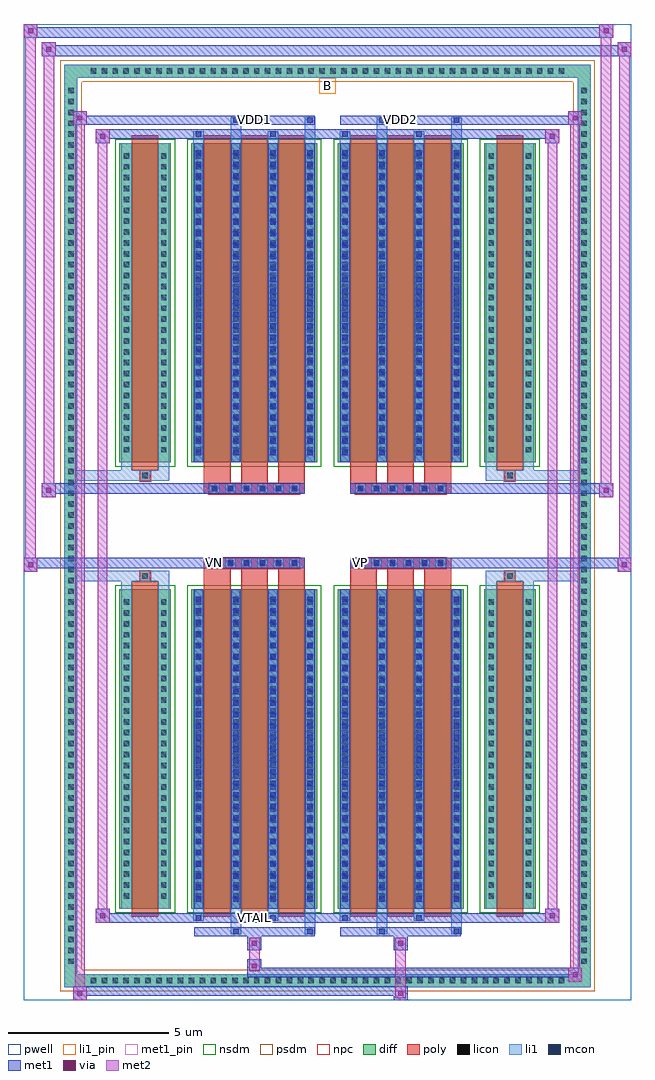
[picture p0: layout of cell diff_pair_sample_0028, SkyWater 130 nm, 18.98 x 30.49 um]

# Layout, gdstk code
import gdstk
lib = gdstk.Library(unit=1e-6, precision=5e-09)
def R(c, l, rs):  # rectangles x0, y0, x1, y1
    for r in rs: c.add(gdstk.rectangle(r[:2], r[2:], *l))
def A(c, l, x, y, w, h, nx, ny, dx, dy):  # array of equal rectangles
    R(c, l, [(x+i*dx, y+j*dy, x+i*dx+w, y+j*dy+h) for i in range(nx) for j in range(ny)])
def P(c, l, *ps):  # polygons
    for p in ps: c.add(gdstk.Polygon(p, *l))
pwell = (64, 44)
diff = (65, 20)
poly = (66, 20)
licon = (66, 44)
li1_pin = (67, 16)
li1 = (67, 20)
mcon = (67, 44)
met1_pin = (68, 16)
met1 = (68, 20)
via = (68, 44)
met2 = (69, 20)
nsdm = (93, 44)
psdm = (94, 20)
npc = (95, 20)

diff_pair_sample_0028 = lib.new_cell('diff_pair_sample_0028')
R(diff_pair_sample_0028, pwell, [(-9.49,-14.81,9.49,15.68), (-6.81,-13,-0.01,-0.8), (0.01,-13,6.81,-0.8), (-6.81,0.8,-0.01,13), (0.01,0.8,6.81,13)])
A(diff_pair_sample_0028, diff, -7.515, -14.41, 0.41, 0.41, 44, 2, 0.34, 28.41)
A(diff_pair_sample_0028, diff, -8.22, -13.805, 0.41, 0.41, 1, 81, 0, 0.34)
A(diff_pair_sample_0028, diff, 7.81, -13.805, 0.41, 0.41, 1, 81, 0, 0.34)
R(diff_pair_sample_0028, diff, [(-7.515,-14.41,7.515,-14), (-8.22,-13.805,-7.81,13.805), (7.81,-13.805,8.22,13.805), (-6.5,-11.955,-4.89,-1.985), (-4.25,-11.955,-0.32,-1.985), (0.32,-11.955,4.25,-1.985), (4.89,-11.955,6.5,-1.985), (-6.5,1.985,-4.89,11.955), (-4.25,1.985,-0.32,11.955), (0.32,1.985,4.25,11.955), (4.89,1.985,6.5,11.955), (-7.515,14,7.515,14.41)])
P(diff_pair_sample_0028, diff, [(8.22,14.41),(-8.22,14.41),(-8.22,-14),(-7.81,-14),(-7.81,14),(7.81,14),(7.81,-14),(-7.81,-14),(-8.22,-14),(-8.22,-14.41),(8.22,-14.41)])
A(diff_pair_sample_0028, poly, -3.86, -12.205, 0.83, 10.47, 3, 2, 1.16, 13.94)
A(diff_pair_sample_0028, poly, 0.71, -12.205, 0.83, 10.47, 3, 2, 1.16, 13.94)
A(diff_pair_sample_0028, poly, -3.86, -1.735, 0.83, 0.405, 3, 2, 1.16, 3.065)
A(diff_pair_sample_0028, poly, 0.71, -1.735, 0.83, 0.405, 3, 2, 1.16, 3.065)
A(diff_pair_sample_0028, poly, -3.7, -1.33, 0.33, 0.33, 6, 2, 0.5, 2.33)
A(diff_pair_sample_0028, poly, 0.87, -1.33, 0.33, 0.33, 6, 2, 0.5, 2.33)
R(diff_pair_sample_0028, poly, [(-6.11,-12.205,-5.28,-1.735), (5.28,-12.205,6.11,-1.735), (-5.86,-1.735,-5.53,-1.405), (-5.86,-1.735,-5.53,-1.405), (5.53,-1.735,5.86,-1.405), (5.53,-1.735,5.86,-1.405), (-3.86,-1.33,-0.71,-1), (0.71,-1.33,3.86,-1), (-3.86,1,-0.71,1.33), (0.71,1,3.86,1.33), (-5.86,1.405,-5.53,1.735), (-5.86,1.405,-5.53,1.735), (5.53,1.405,5.86,1.735), (5.53,1.405,5.86,1.735), (-6.11,1.735,-5.28,12.205), (5.28,1.735,6.11,12.205)])
A(diff_pair_sample_0028, licon, -7.395, -14.29, 0.17, 0.17, 44, 2, 0.34, 28.41)
A(diff_pair_sample_0028, licon, -8.1, -13.685, 0.17, 0.17, 1, 81, 0, 0.34)
A(diff_pair_sample_0028, licon, 7.93, -13.685, 0.17, 0.17, 1, 81, 0, 0.34)
A(diff_pair_sample_0028, licon, -6.36, -11.645, 0.17, 0.17, 1, 28, 0, 0.34)
A(diff_pair_sample_0028, licon, -5.2, -11.645, 0.17, 0.17, 1, 28, 0, 0.34)
A(diff_pair_sample_0028, licon, -4.11, -11.645, 0.17, 0.17, 4, 28, 1.16, 0.34)
A(diff_pair_sample_0028, licon, 0.46, -11.645, 0.17, 0.17, 4, 28, 1.16, 0.34)
A(diff_pair_sample_0028, licon, 5.03, -11.645, 0.17, 0.17, 1, 28, 0, 0.34)
A(diff_pair_sample_0028, licon, 6.19, -11.645, 0.17, 0.17, 1, 28, 0, 0.34)
A(diff_pair_sample_0028, licon, -3.62, -1.25, 0.17, 0.17, 6, 2, 0.5, 2.33)
A(diff_pair_sample_0028, licon, 0.95, -1.25, 0.17, 0.17, 6, 2, 0.5, 2.33)
A(diff_pair_sample_0028, licon, -6.36, 2.295, 0.17, 0.17, 1, 28, 0, 0.34)
A(diff_pair_sample_0028, licon, -5.2, 2.295, 0.17, 0.17, 1, 28, 0, 0.34)
A(diff_pair_sample_0028, licon, -4.11, 2.295, 0.17, 0.17, 4, 28, 1.16, 0.34)
A(diff_pair_sample_0028, licon, 0.46, 2.295, 0.17, 0.17, 4, 28, 1.16, 0.34)
A(diff_pair_sample_0028, licon, 5.03, 2.295, 0.17, 0.17, 1, 28, 0, 0.34)
A(diff_pair_sample_0028, licon, 6.19, 2.295, 0.17, 0.17, 1, 28, 0, 0.34)
R(diff_pair_sample_0028, licon, [(-5.78,-1.655,-5.61,-1.485), (5.61,-1.655,5.78,-1.485), (-5.78,1.485,-5.61,1.655), (5.61,1.485,5.78,1.655)])
R(diff_pair_sample_0028, li1_pin, [(-0.25,13.5,0.25,14)])
A(diff_pair_sample_0028, li1, -7.475, -14.37, 0.33, 0.33, 44, 2, 0.34, 28.41)
A(diff_pair_sample_0028, li1, -8.18, -13.765, 0.33, 0.33, 1, 81, 0, 0.34)
A(diff_pair_sample_0028, li1, 7.85, -13.765, 0.33, 0.33, 1, 81, 0, 0.34)
A(diff_pair_sample_0028, li1, -4.19, -11.955, 0.33, 9.97, 4, 2, 1.16, 13.94)
A(diff_pair_sample_0028, li1, 0.38, -11.955, 0.33, 9.97, 4, 2, 1.16, 13.94)
A(diff_pair_sample_0028, li1, -4.11, -11.735, 0.17, 0.17, 4, 27, 1.16, 0.36)
A(diff_pair_sample_0028, li1, -4.11, -11.735, 0.17, 9.53, 4, 2, 1.16, 13.94)
A(diff_pair_sample_0028, li1, 0.46, -11.735, 0.17, 0.17, 4, 27, 1.16, 0.36)
A(diff_pair_sample_0028, li1, 0.46, -11.735, 0.17, 9.53, 4, 2, 1.16, 13.94)
A(diff_pair_sample_0028, li1, -6.44, -11.725, 0.33, 0.33, 1, 28, 0, 0.34)
A(diff_pair_sample_0028, li1, -5.28, -11.725, 0.33, 0.33, 1, 28, 0, 0.34)
A(diff_pair_sample_0028, li1, -4.19, -11.725, 0.33, 0.33, 4, 28, 1.16, 0.34)
A(diff_pair_sample_0028, li1, 0.38, -11.725, 0.33, 0.33, 4, 28, 1.16, 0.34)
A(diff_pair_sample_0028, li1, 4.95, -11.725, 0.33, 0.33, 1, 28, 0, 0.34)
A(diff_pair_sample_0028, li1, 6.11, -11.725, 0.33, 0.33, 1, 28, 0, 0.34)
A(diff_pair_sample_0028, li1, -3.7, -1.33, 0.33, 0.33, 6, 2, 0.5, 2.33)
A(diff_pair_sample_0028, li1, 0.87, -1.33, 0.33, 0.33, 6, 2, 0.5, 2.33)
A(diff_pair_sample_0028, li1, -4.11, 2.205, 0.17, 0.17, 4, 27, 1.16, 0.36)
A(diff_pair_sample_0028, li1, 0.46, 2.205, 0.17, 0.17, 4, 27, 1.16, 0.36)
A(diff_pair_sample_0028, li1, -6.44, 2.215, 0.33, 0.33, 1, 28, 0, 0.34)
A(diff_pair_sample_0028, li1, -5.28, 2.215, 0.33, 0.33, 1, 28, 0, 0.34)
A(diff_pair_sample_0028, li1, -4.19, 2.215, 0.33, 0.33, 4, 28, 1.16, 0.34)
A(diff_pair_sample_0028, li1, 0.38, 2.215, 0.33, 0.33, 4, 28, 1.16, 0.34)
A(diff_pair_sample_0028, li1, 4.95, 2.215, 0.33, 0.33, 1, 28, 0, 0.34)
A(diff_pair_sample_0028, li1, 6.11, 2.215, 0.33, 0.33, 1, 28, 0, 0.34)
R(diff_pair_sample_0028, li1, [(-8.22,-14.41,-7.81,-14), (-8.22,-14.41,-7.81,-14), (-7.81,-14.41,7.81,-14), (7.81,-14.41,8.22,-14), (7.81,-14.41,8.22,-14), (-8.22,-14,-7.81,14), (7.81,-14,8.22,14), (-3.03,-12.76,-2.7,-11.955), (-2.95,-12.76,-2.78,-12.59), (-0.71,-12.76,-0.38,-11.955), (-0.63,-12.76,-0.46,-12.59), (1.54,-12.76,1.87,-11.955), (1.62,-12.76,1.79,-12.59), (3.86,-12.76,4.19,-11.955), (3.94,-12.76,4.11,-12.59), (-4.19,-12.33,-3.86,-11.955), (-4.11,-12.33,-3.94,-12.16), (-1.87,-12.33,-1.54,-11.955), (-1.79,-12.33,-1.62,-12.16), (0.38,-12.33,0.71,-11.955), (0.46,-12.33,0.63,-12.16), (2.7,-12.33,3.03,-11.955), (2.78,-12.33,2.95,-12.16), (-6.44,-11.955,-6.11,-1.985), (-5.28,-11.955,-4.95,-1.985), (4.95,-11.955,5.28,-1.985), (6.11,-11.955,6.44,-1.985), (-6.44,-1.985,-6.11,-1.405), (-5.28,-1.985,-4.95,-1.405), (4.95,-1.985,5.28,-1.405), (6.11,-1.985,6.44,-1.405), (-8.22,-1.735,-5.86,-1.405), (-6.44,-1.735,-5.86,-1.405), (-5.86,-1.735,-5.53,-1.405), (-5.53,-1.735,-4.95,-1.405), (4.95,-1.735,5.53,-1.405), (5.53,-1.735,5.86,-1.405), (5.53,-1.735,8.22,-1.405), (5.86,-1.735,6.44,-1.405), (-8.22,1.405,-5.86,1.735), (-6.44,1.405,-5.86,1.735), (-6.44,1.405,-6.11,1.985), (-5.86,1.405,-5.53,1.735), (-5.53,1.405,-4.95,1.735), (-5.28,1.405,-4.95,1.985), (4.95,1.405,5.53,1.735), (4.95,1.405,5.28,1.985), (5.53,1.405,5.86,1.735), (5.53,1.405,8.22,1.735), (5.86,1.405,6.44,1.735), (6.11,1.405,6.44,1.985), (-6.44,1.985,-6.11,11.955), (-5.28,1.985,-4.95,11.955), (4.95,1.985,5.28,11.955), (6.11,1.985,6.44,11.955), (-4.19,11.955,-3.86,12.33), (-3.03,11.955,-2.7,12.76), (-1.87,11.955,-1.54,12.33), (-0.71,11.955,-0.38,12.76), (0.38,11.955,0.71,12.33), (1.54,11.955,1.87,12.76), (2.7,11.955,3.03,12.33), (3.86,11.955,4.19,12.76), (-4.11,12.16,-3.94,12.33), (-1.79,12.16,-1.62,12.33), (0.46,12.16,0.63,12.33), (2.78,12.16,2.95,12.33), (-2.95,12.59,-2.78,12.76), (-0.63,12.59,-0.46,12.76), (1.62,12.59,1.79,12.76), (3.94,12.59,4.11,12.76), (-8.22,14,-7.81,14.41), (-8.22,14,-7.81,14.41), (-7.81,14,7.81,14.41), (7.81,14,8.22,14.41), (7.81,14,8.22,14.41)])
A(diff_pair_sample_0028, mcon, -4.11, -11.735, 0.17, 0.17, 4, 27, 1.16, 0.36)
A(diff_pair_sample_0028, mcon, 0.46, -11.735, 0.17, 0.17, 4, 27, 1.16, 0.36)
A(diff_pair_sample_0028, mcon, -3.62, -1.25, 0.17, 0.17, 6, 2, 0.5, 2.33)
A(diff_pair_sample_0028, mcon, 0.95, -1.25, 0.17, 0.17, 6, 2, 0.5, 2.33)
A(diff_pair_sample_0028, mcon, -4.11, 2.205, 0.17, 0.17, 4, 27, 1.16, 0.36)
A(diff_pair_sample_0028, mcon, 0.46, 2.205, 0.17, 0.17, 4, 27, 1.16, 0.36)
R(diff_pair_sample_0028, mcon, [(-2.95,-12.76,-2.78,-12.59), (-0.63,-12.76,-0.46,-12.59), (1.62,-12.76,1.79,-12.59), (3.94,-12.76,4.11,-12.59), (-4.11,-12.33,-3.94,-12.16), (-1.79,-12.33,-1.62,-12.16), (0.46,-12.33,0.63,-12.16), (2.78,-12.33,2.95,-12.16), (-4.11,12.16,-3.94,12.33), (-1.79,12.16,-1.62,12.33), (0.46,12.16,0.63,12.33), (2.78,12.16,2.95,12.33), (-2.95,12.59,-2.78,12.76), (-0.63,12.59,-0.46,12.76), (1.62,12.59,1.79,12.76), (3.94,12.59,4.11,12.76)])
R(diff_pair_sample_0028, met1_pin, [(-2.42,-12.37,-2.15,-12.1), (-3.67,-1.29,-3.4,-1.02), (0.9,-1.29,1.17,-1.02), (-2.42,12.55,-2.15,12.82), (2.15,12.55,2.42,12.82)])
A(diff_pair_sample_0028, met1, -4.17, -11.955, 0.29, 9.97, 4, 2, 1.16, 13.94)
A(diff_pair_sample_0028, met1, 0.4, -11.955, 0.29, 9.97, 4, 2, 1.16, 13.94)
A(diff_pair_sample_0028, met1, -4.17, -11.795, 0.29, 0.29, 4, 27, 1.16, 0.36)
A(diff_pair_sample_0028, met1, 0.4, -11.795, 0.29, 0.29, 4, 27, 1.16, 0.36)
A(diff_pair_sample_0028, met1, -3.68, -1.31, 0.29, 0.29, 6, 2, 0.5, 2.33)
A(diff_pair_sample_0028, met1, 0.89, -1.31, 0.29, 0.29, 6, 2, 0.5, 2.33)
A(diff_pair_sample_0028, met1, -4.17, 2.145, 0.29, 0.29, 4, 27, 1.16, 0.36)
A(diff_pair_sample_0028, met1, 0.4, 2.145, 0.29, 0.29, 4, 27, 1.16, 0.36)
R(diff_pair_sample_0028, met1, [(-7.95,-14.81,-7.52,-14.38), (2.07,-14.81,2.5,-14.38), (-7.95,-14.67,2.5,-14.38), (7.52,-14.24,7.95,-13.81), (-2.5,-14.1,7.95,-13.81), (-2.5,-13.96,-2.07,-13.53), (-2.5,-13.25,-2.07,-12.82), (2.07,-13.25,2.5,-12.82), (-4.17,-12.82,-0.4,-12.53), (-3.01,-12.82,-2.72,-12.53), (-0.69,-12.82,-0.4,-12.53), (0.4,-12.82,4.17,-12.53), (1.56,-12.82,1.85,-12.53), (3.88,-12.82,4.17,-12.53), (-7.24,-12.39,-6.81,-11.96), (-7.24,-12.39,-4.17,-12.1), (-4.17,-12.39,-3.88,-12.1), (-4.17,-12.39,-0.4,-12.1), (-1.85,-12.39,-1.56,-12.1), (-0.4,-12.39,0.4,-12.1), (0.4,-12.39,0.69,-12.1), (0.4,-12.39,4.17,-12.1), (2.72,-12.39,3.01,-12.1), (4.17,-12.39,7.24,-12.1), (6.81,-12.39,7.24,-11.96), (-9.49,-1.43,-9.06,-1), (9.06,-1.43,9.49,-1), (-9.49,-1.33,-0.71,-1), (-3.86,-1.33,-0.71,-1), (0.71,-1.33,3.86,-1), (0.71,-1.33,9.49,-1), (-8.92,0.9,-8.49,1.33), (8.49,0.9,8.92,1.33), (-8.92,1,-3.86,1.33), (-3.86,1,-0.71,1.33), (0.71,1,3.86,1.33), (3.86,1,8.92,1.33), (-7.24,11.96,-6.81,12.39), (6.81,11.96,7.24,12.39), (-7.24,12.1,-4.17,12.39), (-4.17,12.1,-3.88,12.39), (-4.17,12.1,-0.4,12.39), (-1.85,12.1,-1.56,12.39), (-0.4,12.1,0.4,12.39), (0.4,12.1,0.69,12.39), (0.4,12.1,4.17,12.39), (2.72,12.1,3.01,12.39), (4.17,12.1,7.24,12.39), (-7.95,12.53,-7.52,12.96), (-7.95,12.53,-4.17,12.82), (-4.17,12.53,-0.4,12.82), (-3.01,12.53,-2.72,12.82), (-0.69,12.53,-0.4,12.82), (0.4,12.53,4.17,12.82), (1.56,12.53,1.85,12.82), (3.88,12.53,4.17,12.82), (4.17,12.53,7.95,12.82), (7.52,12.53,7.95,12.96), (-8.92,14.68,-8.49,15.11), (-8.92,14.68,-6.81,15.01), (-6.81,14.68,6.81,15.01), (6.81,14.68,9.49,15.01), (9.06,14.68,9.49,15.11), (-9.49,15.25,-9.06,15.68), (-9.49,15.25,-6.81,15.58), (-6.81,15.25,6.81,15.58), (6.81,15.25,8.92,15.58), (8.49,15.25,8.92,15.68)])
R(diff_pair_sample_0028, via, [(-7.81,-14.67,-7.66,-14.52), (2.21,-14.67,2.36,-14.52), (7.66,-14.1,7.81,-13.95), (-2.36,-13.82,-2.21,-13.67), (-2.36,-13.11,-2.21,-12.96), (2.21,-13.11,2.36,-12.96), (-7.1,-12.25,-6.95,-12.1), (6.95,-12.25,7.1,-12.1), (-9.35,-1.29,-9.2,-1.14), (9.2,-1.29,9.35,-1.14), (-8.78,1.04,-8.63,1.19), (8.63,1.04,8.78,1.19), (-7.1,12.1,-6.95,12.25), (6.95,12.1,7.1,12.25), (-7.81,12.67,-7.66,12.82), (7.66,12.67,7.81,12.82), (-8.78,14.82,-8.63,14.97), (9.2,14.82,9.35,14.97), (-9.35,15.39,-9.2,15.54), (8.63,15.39,8.78,15.54)])
R(diff_pair_sample_0028, met2, [(-7.95,-14.81,-7.52,-14.38), (-7.88,-14.81,-7.59,12.96), (-7.59,-14.81,-7.52,-14.38), (-7.9,-14.76,-7.57,-14.43), (2.12,-14.76,2.45,-14.43), (2.12,-14.43,2.45,-13.2), (7.52,-14.24,7.95,-13.81), (7.59,-14.24,7.88,12.96), (7.88,-14.24,7.95,-13.81), (7.57,-14.19,7.9,-13.86), (-2.45,-13.91,-2.12,-13.58), (-2.45,-13.58,-2.12,-13.2), (-2.45,-13.2,-2.12,-12.87), (2.12,-13.2,2.45,-12.87), (-7.24,-12.39,-6.81,-11.96), (-7.17,-12.39,-6.88,12.39), (-6.88,-12.39,-6.81,-11.96), (6.81,-12.39,7.24,-11.96), (6.88,-12.39,7.17,12.39), (7.17,-12.39,7.24,-11.96), (-7.19,-12.34,-6.86,-12.01), (6.86,-12.34,7.19,-12.01), (-9.49,-1.43,-9.06,-1), (-9.44,-1.43,-9.11,15.68), (-9.11,-1.43,-9.06,-1), (9.06,-1.43,9.49,-1), (9.11,-1.43,9.44,15.11), (9.44,-1.43,9.49,-1), (-9.44,-1.38,-9.11,-1.05), (9.11,-1.38,9.44,-1.05), (-8.92,0.9,-8.49,1.33), (-8.87,0.9,-8.54,15.11), (-8.54,0.9,-8.49,1.33), (8.49,0.9,8.92,1.33), (8.54,0.9,8.87,15.68), (8.87,0.9,8.92,1.33), (-8.87,0.95,-8.54,1.28), (8.54,0.95,8.87,1.28), (-7.24,11.96,-6.81,12.39), (-6.88,11.96,-6.81,12.39), (6.81,11.96,7.24,12.39), (7.17,11.96,7.24,12.39), (-7.19,12.01,-6.86,12.34), (6.86,12.01,7.19,12.34), (-7.95,12.53,-7.52,12.96), (-7.59,12.53,-7.52,12.96), (7.52,12.53,7.95,12.96), (7.88,12.53,7.95,12.96), (-7.9,12.58,-7.57,12.91), (7.57,12.58,7.9,12.91), (-8.92,14.68,-8.49,15.11), (-8.54,14.68,-8.49,15.11), (9.06,14.68,9.49,15.11), (9.44,14.68,9.49,15.11), (-8.87,14.73,-8.54,15.06), (9.11,14.73,9.44,15.06), (-9.49,15.25,-9.06,15.68), (-9.11,15.25,-9.06,15.68), (8.49,15.25,8.92,15.68), (8.87,15.25,8.92,15.68), (-9.44,15.3,-9.11,15.63), (8.54,15.3,8.87,15.63)])
R(diff_pair_sample_0028, nsdm, [(-6.63,-12.085,-4.76,-1.855), (-4.38,-12.085,-0.19,-1.855), (0.19,-12.085,4.38,-1.855), (4.76,-12.085,6.63,-1.855), (-6.63,1.855,-4.76,12.085), (-4.38,1.855,-0.19,12.085), (0.19,1.855,4.38,12.085), (4.76,1.855,6.63,12.085)])
P(diff_pair_sample_0028, psdm, [(8.35,14.54),(-8.35,14.54),(-8.35,-13.87),(-7.68,-13.87),(-7.68,13.87),(7.68,13.87),(7.68,-13.87),(-7.68,-13.87),(-8.35,-13.87),(-8.35,-14.54),(8.35,-14.54)])
A(diff_pair_sample_0028, npc, -3.72, -1.35, 0.37, 0.37, 6, 2, 0.5, 2.33)
A(diff_pair_sample_0028, npc, 0.85, -1.35, 0.37, 0.37, 6, 2, 0.5, 2.33)
R(diff_pair_sample_0028, npc, [(-5.88,-1.755,-5.51,-1.385), (5.51,-1.755,5.88,-1.385), (-3.72,-1.35,-2.85,-0.98), (-3.72,-1.35,-2.85,-0.98), (-3.22,-1.35,-2.35,-0.98), (-3.22,-1.35,-2.35,-0.98), (-2.72,-1.35,-1.85,-0.98), (-2.72,-1.35,-1.85,-0.98), (-2.22,-1.35,-1.35,-0.98), (-2.22,-1.35,-1.35,-0.98), (-1.72,-1.35,-0.85,-0.98), (-1.72,-1.35,-0.85,-0.98), (0.85,-1.35,1.72,-0.98), (0.85,-1.35,1.72,-0.98), (1.35,-1.35,2.22,-0.98), (1.35,-1.35,2.22,-0.98), (1.85,-1.35,2.72,-0.98), (1.85,-1.35,2.72,-0.98), (2.35,-1.35,3.22,-0.98), (2.35,-1.35,3.22,-0.98), (2.85,-1.35,3.72,-0.98), (2.85,-1.35,3.72,-0.98), (-3.72,0.98,-2.85,1.35), (-3.72,0.98,-2.85,1.35), (-3.22,0.98,-2.35,1.35), (-3.22,0.98,-2.35,1.35), (-2.72,0.98,-1.85,1.35), (-2.72,0.98,-1.85,1.35), (-2.22,0.98,-1.35,1.35), (-2.22,0.98,-1.35,1.35), (-1.72,0.98,-0.85,1.35), (-1.72,0.98,-0.85,1.35), (0.85,0.98,1.72,1.35), (0.85,0.98,1.72,1.35), (1.35,0.98,2.22,1.35), (1.35,0.98,2.22,1.35), (1.85,0.98,2.72,1.35), (1.85,0.98,2.72,1.35), (2.35,0.98,3.22,1.35), (2.35,0.98,3.22,1.35), (2.85,0.98,3.72,1.35), (2.85,0.98,3.72,1.35), (-5.88,1.385,-5.51,1.755), (5.51,1.385,5.88,1.755)])
diff_pair_sample_0028.add(gdstk.Label('VTAIL', (-2.285,-12.235), layer=68, texttype=5))
diff_pair_sample_0028.add(gdstk.Label('VN', (-3.535,-1.155), layer=68, texttype=5))
diff_pair_sample_0028.add(gdstk.Label('VP', (1.035,-1.155), layer=68, texttype=5))
diff_pair_sample_0028.add(gdstk.Label('B', (0,13.75), layer=67, texttype=5))
diff_pair_sample_0028.add(gdstk.Label('VDD2', (2.285,12.685), layer=68, texttype=5))
diff_pair_sample_0028.add(gdstk.Label('VDD1', (-2.285,12.685), layer=68, texttype=5))

lib.write_gds('diff_pair_sample_0028.gds')
